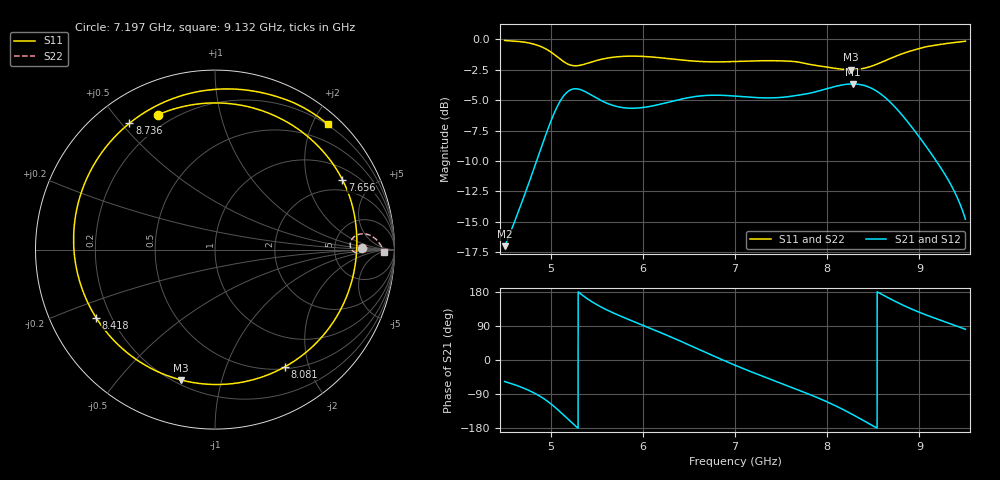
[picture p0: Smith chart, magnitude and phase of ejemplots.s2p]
! TOUCHSTONE file generated by CST MICROWAVE STUDIO
! Date and time: Sun Mar  9 21:54:52 2025
! Project name: Mas_optimizable_C_dobleP.cst
! Parameters = {Lc4=5.13164; Cz=-21.3846; H=17; Hbl=8.88143; Hbt=5; Hl=7.58026; Hposte=4.23344; Hposte2=2.90011; Ht=10.006; L=2; Lb1=2; Lb2=3.40895; Lc1=5.22891; Lc2=1.15568; Lc3=0.1; Ldielectrico=9.906; Lextra=8.382; Lextra2=12.446; Lp1=7; Lp2=8; Lp3=2; Pb2=0; Rposte=0.9; Rposte2=0.816232; W=34; W2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
! Header version: 2018
! Port assignment regex: !\s*Touchstone port\s*([0-9]+)\s*=\s*(CST MWS port|CST DS port)\s*([0-9]+|Zmin|Zmax)\s*\(\"(.*)\"\)(\s*mode\s*([0-9]+))?.*
! Touchstone port assignment:
! Touchstone port 1 = CST MWS port 1 ("")
! Touchstone port 2 = CST MWS port 2 ("")
# GHz S MA R 50
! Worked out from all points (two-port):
!   5001 points, 4.5 GHz to 9.5 GHz, reference 50 ohm
!   highest |S21| = -3.66 dB at 8.278 GHz (marker M1); lowest = -17.0 dB at 4.5 GHz (marker M2)
!   |S21| within 3 dB of the highest: 5.005 GHz to 8.861 GHz (3.856 GHz wide, 55.6 % of centre)
!   lowest |S11| = -2.5 dB at 8.257 GHz (marker M3), VSWR 7.02, Z = 11.3 - j37.5 ohm
!   |S11| at or under -10 dB: nowhere
!   |S22| runs from -2.5 to -0.1 dB; largest |S21 - S12| = 2e-05
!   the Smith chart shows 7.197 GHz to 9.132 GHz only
!   S11 on the Smith chart (normalised r, x): 7.197 GHz: 0.15, +0.65; 7.656 GHz: 1.46, +3.30; 8.081 GHz: 0.53, -1.64; 8.418 GHz: 0.14, -0.26; 8.736 GHz: 0.10, +0.53; 9.132 GHz: 0.19, +2.24
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4.5  0.9896 64.3  0.1413 -56.8  0.1413 -56.8  0.99 2.1
4.864  0.9434 -1.9  0.3301 -92.9  0.3301 -92.9  0.9439 -3.8
5.08  0.843 -77.5  0.5376 -131.8  0.5376 -131.8  0.8432 -6.0
5.22  0.7829 -144.4  0.6212 -163.5  0.6212 -163.5  0.7835 -2.6
5.334  0.7845 164.8  0.6193 172.9  0.6193 172.9  0.785 1.0
5.639  0.8405 74.8  0.5411 128.8  0.5411 128.8  0.8409 2.7
5.91  0.853 19.9  0.5212 100.5  0.5212 100.5  0.8533 1.1
6.167  0.8418 -29.9  0.539 74.9  0.539 74.9  0.8422 -0.2
6.532  0.8153 -106.9  0.5793 36.3  0.5793 36.3  0.8151 -0.4
6.775  0.808 -160.6  0.5896 9.9  0.5896 9.9  0.8077 0.4
7  0.8109 151.8  0.5846 -13.7  0.5846 -13.7  0.8112 0.8
7.197  0.8156 113.1  0.5772 -33.1  0.5772 -33.1  0.8164 0.6
7.656  0.8097 28.7  0.5872 -76.1  0.5872 -76.1  0.8096 -0.9
7.834  0.7862 -5.4  0.6034 -93.3  0.6034 -93.3  0.7951 -1.3
8.081  0.7604 -59.0  0.6396 -119.7  0.6396 -119.7  0.7665 -0.5
8.257  0.7506 -104.5  0.6556 -141.4  0.6556 -141.4  0.7537 1.6
8.278  0.7508 -110.3  0.6558 -144.2  0.6558 -144.2  0.7536 2.0
8.418  0.7634 -150.2  0.6436 -163.0  0.6436 -163.0  0.7648 4.3
8.667  0.8288 141.1  0.56 163.6  0.56 163.6  0.8285 6.1
8.736  0.85 124.2  0.5271 155.0  0.5271 155.0  0.8498 5.8
9.132  0.9402 47.9  0.3379 113.6  0.3379 113.6  0.9411 -0.7
9.5  0.9823 -3.1  0.1824 81.1  0.1824 81.1  0.9832 -14.8
